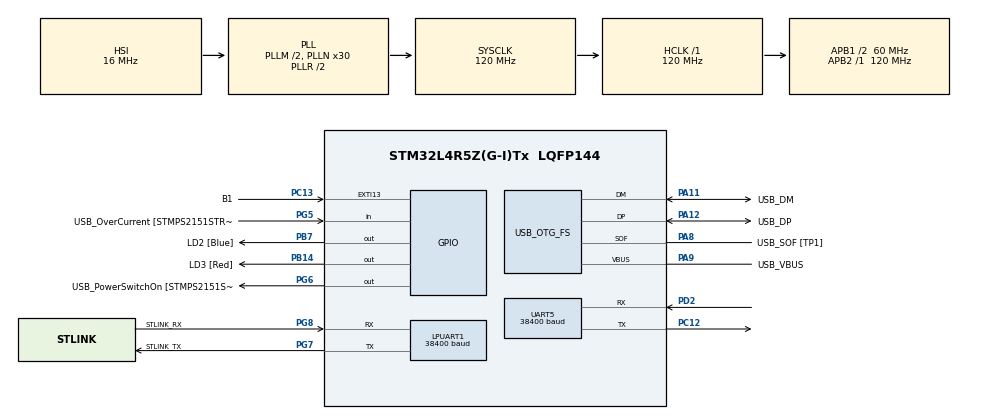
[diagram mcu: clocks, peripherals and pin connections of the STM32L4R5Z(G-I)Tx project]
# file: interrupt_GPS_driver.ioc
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LPUART1.BaudRate=38400
LPUART1.WordLength=UART_WORDLENGTH_8B
Mcu.Family=STM32L4
Mcu.Name=STM32L4R5Z(G-I)Tx
Mcu.Package=LQFP144
NVIC.PriorityGroup=NVIC_PRIORITYGROUP_4
NVIC.UART5_IRQn=true\:0\:0\:false\:false\:true\:true\:true\:true
PA10.GPIO_Label=USB_ID
PA10.Signal=USB_OTG_FS_ID
PA11.GPIO_Label=USB_DM
PA11.Mode=Device_Only
PA11.Signal=USB_OTG_FS_DM
PA12.GPIO_Label=USB_DP
PA12.Mode=Device_Only
PA12.Signal=USB_OTG_FS_DP
PA13\ (JTMS/SWDIO).GPIO_Label=TMS
PA13\ (JTMS/SWDIO).Mode=Trace_Asynchronous_SW
PA13\ (JTMS/SWDIO).Signal=SYS_JTMS-SWDIO
PA14\ (JTCK/SWCLK).GPIO_Label=TCK
PA14\ (JTCK/SWCLK).Mode=Trace_Asynchronous_SW
PA14\ (JTCK/SWCLK).Signal=SYS_JTCK-SWCLK
PA8.GPIO_Label=USB_SOF [TP1]
PA8.Mode=Activate_SOF_FS
PA8.Signal=USB_OTG_FS_SOF
PA9.GPIO_Label=USB_VBUS
PA9.Mode=Activate_VBUS
PA9.Signal=USB_OTG_FS_VBUS
PB14.GPIO_Label=LD3 [Red]
PB14.Signal=GPIO_Output
PB3\ (JTDO/TRACESWO).GPIO_Label=SWO
PB3\ (JTDO/TRACESWO).Mode=Trace_Asynchronous_SW
PB3\ (JTDO/TRACESWO).Signal=SYS_JTDO-SWO
PB7.GPIO_Label=LD2 [Blue]
PB7.Signal=GPIO_Output
PC12.Mode=Asynchronous
PC12.Signal=UART5_TX
PC13.GPIO_Label=B1
PC13.Signal=GPXTI13
PC14-OSC32_IN\ (PC14).Mode=LSE-External-Oscillator
PC14-OSC32_IN\ (PC14).Signal=RCC_OSC32_IN
PC15-OSC32_OUT\ (PC15).Mode=LSE-External-Oscillator
PC15-OSC32_OUT\ (PC15).Signal=RCC_OSC32_OUT
PD2.Mode=Asynchronous
PD2.Signal=UART5_RX
PD8.GPIO_Label=STLK_RX [STM32F103CBT6_PA3]
PD8.Signal=USART3_TX
PD9.GPIO_Label=STLK_TX [STM32F103CBT6_PA2]
PD9.Signal=USART3_RX
PG5.GPIO_Label=USB_OverCurrent [STMPS2151STR_FAULT]
PG5.Signal=GPIO_Input
PG6.GPIO_Label=USB_PowerSwitchOn [STMPS2151STR_EN]
PG6.Signal=GPIO_Output
PG7.GPIO_Label=STLINK_TX
PG7.Mode=Asynchronous
PG7.Signal=LPUART1_TX
PG8.GPIO_Label=STLINK_RX
PG8.Mode=Asynchronous
PG8.Signal=LPUART1_RX
PH0-OSC_IN\ (PH0).Signal=RCC_OSC_IN
PH1-OSC_OUT\ (PH1).Signal=RCC_OSC_OUT
ProjectManager.HeapSize=0x200
ProjectManager.StackSize=0x400
ProjectManager.TargetToolchain=STM32CubeIDE
RCC.48MHZClocksFreq_Value=24000000
RCC.ADCFreq_Value=96000000
RCC.AHBFreq_Value=120000000
RCC.APB1CLKDivider=RCC_HCLK_DIV2
RCC.APB1Freq_Value=60000000
RCC.APB1TimFreq_Value=120000000
RCC.APB2Freq_Value=120000000
RCC.APB2TimFreq_Value=120000000
RCC.CK48CLockSelection=RCC_USBCLKSOURCE_HSI48
RCC.CortexFreq_Value=120000000
RCC.HCLKFreq_Value=120000000
RCC.HSE_VALUE=8000000
RCC.HSI48_VALUE=48000000
RCC.HSI_VALUE=16000000
RCC.MSI_VALUE=4000000
RCC.PLLM1=2
RCC.PLLMUL=RCC_PLL_MUL9
RCC.PLLN=30
RCC.PLLSAI1N=12
RCC.PLLSourceVirtual=RCC_PLLSOURCE_HSI
RCC.PRESCALERUSB=RCC_USBCLKSOURCE_PLL_DIV1_5
RCC.SYSCLKFreq_VALUE=120000000
RCC.SYSCLKSource=RCC_SYSCLKSOURCE_PLLCLK
RCC.SYSCLKSourceVirtual=RCC_SYSCLKSOURCE_PLLCLK
RCC.USBFreq_Value=48000000
RCC.VCOOutputFreq_Value=240000000
UART5.BaudRate=38400
USB_OTG_FS.VirtualMode=Device_Only
board=NUCLEO-L4R5ZI

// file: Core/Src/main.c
/* USER CODE BEGIN Header */
/**
  ******************************************************************************
  * @file           : main.c
  * @brief          : Main program body
  ******************************************************************************
  * @attention
  *
  * Copyright (c) 2026 STMicroelectronics.
  * All rights reserved.
  *
  * This software is licensed under terms that can be found in the LICENSE file
  * in the root directory of this software component.
  * If no LICENSE file comes with this software, it is provided AS-IS.
  *
  ******************************************************************************
  */
/* USER CODE END Header */
#include "main.h"

/* USER CODE BEGIN Includes */
#include "NEOM9N.h"
#include <stdio.h>
#include <string.h>
/* USER CODE END Includes */

UART_HandleTypeDef hlpuart1;
UART_HandleTypeDef huart5;
DMA_HandleTypeDef hdma_uart5_rx;

PCD_HandleTypeDef hpcd_USB_OTG_FS;

/* USER CODE BEGIN PV */
unsigned char GPSData[10000] = {0}; // Buffer for GPS data
/* USER CODE END PV */

void SystemClock_Config(void);
static void MX_GPIO_Init(void);
static void MX_DMA_Init(void);
static void MX_LPUART1_UART_Init(void);
static void MX_USB_OTG_FS_PCD_Init(void);
static void MX_UART5_Init(void);
/* USER CODE BEGIN PFP */
void SystemClock_Config(void);
static void MX_GPIO_Init(void);
static void MX_LPUART1_UART_Init(void);
static void MX_USB_OTG_FS_PCD_Init(void);
static void MX_UART5_Init(void);
static HAL_StatusTypeDef gpsSwitchBaud(UART_HandleTypeDef *huart_gps, uint32_t newBaud);
/* USER CODE END PFP */

/* USER CODE BEGIN 0 */
// We use Receive-to-IDLE interrupt, so we only need HAL_UARTEx_RxEventCallback.
void HAL_UARTEx_RxEventCallback(UART_HandleTypeDef *huart, uint16_t Size) {
  if (huart->Instance == UART5){
    NEOM9N_OnRxEventIT(Size);
  }
}
/* USER CODE END 0 */

int main(void)
{

  /* MCU Configuration--------------------------------------------------------*/

  /* Reset of all peripherals, Initializes the Flash interface and the Systick. */
  HAL_Init();

  /* Configure the system clock */
  SystemClock_Config();

  /* Initialize all configured peripherals */
  MX_GPIO_Init();
  MX_DMA_Init();
  MX_LPUART1_UART_Init();
  MX_USB_OTG_FS_PCD_Init();
  MX_UART5_Init();
  /* USER CODE BEGIN 2 */
  // Initialize GPS on UART5
    NEOM9N_init(&huart5);
    // Start the Interrupt Listener
    NEOM9N_StartRxIT();

    // comment out if not switching gps baud!
    // save = 0x01 (temp change, i.e. resets back to previously set baud rate with next power cycle).
    // save = 0x07 (permenant change, i.e. must call this function again to change baud rate)
    gpsSwitchBaud(&huart5, (uint16_t)115200, /* save */ (uint8_t)0x01);

  /* USER CODE END 2 */

  /* Infinite loop */
  while (1)
  {

    /* USER CODE BEGIN 3 */
	// Check if new data has arrived via interrupt
	if (NEOM9N_getDataIT(GPSData, sizeof(GPSData)) == HAL_OK)
	{
		// 1. Print Raw Data to Console (LPUART1)
		HAL_UART_Transmit(&hlpuart1, GPSData, strlen((char*)GPSData), 100);

		// 2. Parse Data
		float latitude = 0, longitude = 0, speed = 0, altitude = 0;
		char latHem = 0, lonHem = 0;
		char tx_buff[100];

		// Parse Position
		if (NEOM9N_getPosition(&latitude, &latHem, &longitude, &lonHem, GPSData, sizeof(GPSData)) == 0) {
		  sprintf(tx_buff, "Lat: %.6f %c, Lon: %.6f %c\r\n", latitude, latHem, longitude, lonHem);
		  HAL_UART_Transmit(&hlpuart1, (uint8_t*)tx_buff, strlen(tx_buff), 100);
		}

		// Parse Speed
		if (NEOM9N_getSpeed(&speed, GPSData) == 0) {
		  sprintf(tx_buff, "Speed: %.2f\r\n", speed);
		  HAL_UART_Transmit(&hlpuart1, (uint8_t*)tx_buff, strlen(tx_buff), 100);
		}

		// Parse Altitude
		if (NEOM9N_getAltitude(&altitude, GPSData) == 0) {
		  sprintf(tx_buff, "Alt: %.2f\r\n", altitude);
		  HAL_UART_Transmit(&hlpuart1, (uint8_t*)tx_buff, strlen(tx_buff), 100);
		}
	}

  }
  /* USER CODE END 3 */
}

void SystemClock_Config(void)
{
  RCC_OscInitTypeDef RCC_OscInitStruct = {0};
  RCC_ClkInitTypeDef RCC_ClkInitStruct = {0};

  /** Configure the main internal regulator output voltage
  */
  if (HAL_PWREx_ControlVoltageScaling(PWR_REGULATOR_VOLTAGE_SCALE1_BOOST) != HAL_OK)
  {
    Error_Handler();
  }

  /** Initializes the RCC Oscillators according to the specified parameters
  * in the RCC_OscInitTypeDef structure.
  */
  RCC_OscInitStruct.OscillatorType = RCC_OSCILLATORTYPE_HSI48|RCC_OSCILLATORTYPE_HSI;
  RCC_OscInitStruct.HSIState = RCC_HSI_ON;
  RCC_OscInitStruct.HSI48State = RCC_HSI48_ON;
  RCC_OscInitStruct.HSICalibrationValue = RCC_HSICALIBRATION_DEFAULT;
  RCC_OscInitStruct.PLL.PLLState = RCC_PLL_ON;
  RCC_OscInitStruct.PLL.PLLSource = RCC_PLLSOURCE_HSI;
  RCC_OscInitStruct.PLL.PLLM = 2;
  RCC_OscInitStruct.PLL.PLLN = 30;
  RCC_OscInitStruct.PLL.PLLP = RCC_PLLP_DIV2;
  RCC_OscInitStruct.PLL.PLLQ = RCC_PLLQ_DIV2;
  RCC_OscInitStruct.PLL.PLLR = RCC_PLLR_DIV2;
  if (HAL_RCC_OscConfig(&RCC_OscInitStruct) != HAL_OK)
  {
    Error_Handler();
  }

  /** Initializes the CPU, AHB and APB buses clocks
  */
  RCC_ClkInitStruct.ClockType = RCC_CLOCKTYPE_HCLK|RCC_CLOCKTYPE_SYSCLK
                              |RCC_CLOCKTYPE_PCLK1|RCC_CLOCKTYPE_PCLK2;
  RCC_ClkInitStruct.SYSCLKSource = RCC_SYSCLKSOURCE_PLLCLK;
  RCC_ClkInitStruct.AHBCLKDivider = RCC_SYSCLK_DIV1;
  RCC_ClkInitStruct.APB1CLKDivider = RCC_HCLK_DIV2;
  RCC_ClkInitStruct.APB2CLKDivider = RCC_HCLK_DIV1;

  if (HAL_RCC_ClockConfig(&RCC_ClkInitStruct, FLASH_LATENCY_5) != HAL_OK)
  {
    Error_Handler();
  }
}

static void MX_LPUART1_UART_Init(void)
{

  hlpuart1.Instance = LPUART1;
  hlpuart1.Init.BaudRate = 38400;
  hlpuart1.Init.WordLength = UART_WORDLENGTH_8B;
  hlpuart1.Init.StopBits = UART_STOPBITS_1;
  hlpuart1.Init.Parity = UART_PARITY_NONE;
  hlpuart1.Init.Mode = UART_MODE_TX_RX;
  hlpuart1.Init.HwFlowCtl = UART_HWCONTROL_NONE;
  hlpuart1.Init.OneBitSampling = UART_ONE_BIT_SAMPLE_DISABLE;
  hlpuart1.Init.ClockPrescaler = UART_PRESCALER_DIV1;
  hlpuart1.AdvancedInit.AdvFeatureInit = UART_ADVFEATURE_NO_INIT;
  hlpuart1.FifoMode = UART_FIFOMODE_DISABLE;
  if (HAL_UART_Init(&hlpuart1) != HAL_OK)
  {
    Error_Handler();
  }
  if (HAL_UARTEx_SetTxFifoThreshold(&hlpuart1, UART_TXFIFO_THRESHOLD_1_8) != HAL_OK)
  {
    Error_Handler();
  }
  if (HAL_UARTEx_SetRxFifoThreshold(&hlpuart1, UART_RXFIFO_THRESHOLD_1_8) != HAL_OK)
  {
    Error_Handler();
  }
  if (HAL_UARTEx_DisableFifoMode(&hlpuart1) != HAL_OK)
  {
    Error_Handler();
  }

}

static void MX_UART5_Init(void)
{

  huart5.Instance = UART5;
  huart5.Init.BaudRate = 38400;
  huart5.Init.WordLength = UART_WORDLENGTH_8B;
  huart5.Init.StopBits = UART_STOPBITS_1;
  huart5.Init.Parity = UART_PARITY_NONE;
  huart5.Init.Mode = UART_MODE_TX_RX;
  huart5.Init.HwFlowCtl = UART_HWCONTROL_NONE;
  huart5.Init.OverSampling = UART_OVERSAMPLING_16;
  huart5.Init.OneBitSampling = UART_ONE_BIT_SAMPLE_DISABLE;
  huart5.Init.ClockPrescaler = UART_PRESCALER_DIV1;
  huart5.AdvancedInit.AdvFeatureInit = UART_ADVFEATURE_NO_INIT;
  if (HAL_UART_Init(&huart5) != HAL_OK)
  {
    Error_Handler();
  }
  if (HAL_UARTEx_SetTxFifoThreshold(&huart5, UART_TXFIFO_THRESHOLD_1_8) != HAL_OK)
  {
    Error_Handler();
  }
  if (HAL_UARTEx_SetRxFifoThreshold(&huart5, UART_RXFIFO_THRESHOLD_1_8) != HAL_OK)
  {
    Error_Handler();
  }
  if (HAL_UARTEx_DisableFifoMode(&huart5) != HAL_OK)
  {
    Error_Handler();
  }

}

static void MX_USB_OTG_FS_PCD_Init(void)
{

  hpcd_USB_OTG_FS.Instance = USB_OTG_FS;
  hpcd_USB_OTG_FS.Init.dev_endpoints = 6;
  hpcd_USB_OTG_FS.Init.speed = PCD_SPEED_FULL;
  hpcd_USB_OTG_FS.Init.phy_itface = PCD_PHY_EMBEDDED;
  hpcd_USB_OTG_FS.Init.Sof_enable = ENABLE;
  hpcd_USB_OTG_FS.Init.low_power_enable = DISABLE;
  hpcd_USB_OTG_FS.Init.lpm_enable = DISABLE;
  hpcd_USB_OTG_FS.Init.battery_charging_enable = ENABLE;
  hpcd_USB_OTG_FS.Init.use_dedicated_ep1 = DISABLE;
  hpcd_USB_OTG_FS.Init.vbus_sensing_enable = ENABLE;
  if (HAL_PCD_Init(&hpcd_USB_OTG_FS) != HAL_OK)
  {
    Error_Handler();
  }

}

static void MX_DMA_Init(void)
{

  /* DMA controller clock enable */
  __HAL_RCC_DMAMUX1_CLK_ENABLE();
  __HAL_RCC_DMA1_CLK_ENABLE();

  /* DMA interrupt init */
  /* DMA1_Channel1_IRQn interrupt configuration */
  HAL_NVIC_SetPriority(DMA1_Channel1_IRQn, 0, 0);
  HAL_NVIC_EnableIRQ(DMA1_Channel1_IRQn);

}

static void MX_GPIO_Init(void)
{
  GPIO_InitTypeDef GPIO_InitStruct = {0};

  /* GPIO Ports Clock Enable */
  __HAL_RCC_GPIOC_CLK_ENABLE();
  __HAL_RCC_GPIOH_CLK_ENABLE();
  __HAL_RCC_GPIOB_CLK_ENABLE();
  __HAL_RCC_GPIOD_CLK_ENABLE();
  __HAL_RCC_GPIOG_CLK_ENABLE();
  HAL_PWREx_EnableVddIO2();
  __HAL_RCC_GPIOA_CLK_ENABLE();

  /*Configure GPIO pin Output Level */
  HAL_GPIO_WritePin(GPIOB, LD3_Pin|LD2_Pin, GPIO_PIN_RESET);

  /*Configure GPIO pin Output Level */
  HAL_GPIO_WritePin(USB_PowerSwitchOn_GPIO_Port, USB_PowerSwitchOn_Pin, GPIO_PIN_RESET);

  /*Configure GPIO pin : B1_Pin */
  GPIO_InitStruct.Pin = B1_Pin;
  GPIO_InitStruct.Mode = GPIO_MODE_IT_RISING;
  GPIO_InitStruct.Pull = GPIO_NOPULL;
  HAL_GPIO_Init(B1_GPIO_Port, &GPIO_InitStruct);

  /*Configure GPIO pins : LD3_Pin LD2_Pin */
  GPIO_InitStruct.Pin = LD3_Pin|LD2_Pin;
  GPIO_InitStruct.Mode = GPIO_MODE_OUTPUT_PP;
  GPIO_InitStruct.Pull = GPIO_NOPULL;
  GPIO_InitStruct.Speed = GPIO_SPEED_FREQ_LOW;
  HAL_GPIO_Init(GPIOB, &GPIO_InitStruct);

  /*Configure GPIO pins : STLK_RX_Pin STLK_TX_Pin */
  GPIO_InitStruct.Pin = STLK_RX_Pin|STLK_TX_Pin;
  GPIO_InitStruct.Mode = GPIO_MODE_AF_PP;
  GPIO_InitStruct.Pull = GPIO_NOPULL;
  GPIO_InitStruct.Speed = GPIO_SPEED_FREQ_VERY_HIGH;
  GPIO_InitStruct.Alternate = GPIO_AF7_USART3;
  HAL_GPIO_Init(GPIOD, &GPIO_InitStruct);

  /*Configure GPIO pin : USB_OverCurrent_Pin */
  GPIO_InitStruct.Pin = USB_OverCurrent_Pin;
  GPIO_InitStruct.Mode = GPIO_MODE_INPUT;
  GPIO_InitStruct.Pull = GPIO_NOPULL;
  HAL_GPIO_Init(USB_OverCurrent_GPIO_Port, &GPIO_InitStruct);

  /*Configure GPIO pin : USB_PowerSwitchOn_Pin */
  GPIO_InitStruct.Pin = USB_PowerSwitchOn_Pin;
  GPIO_InitStruct.Mode = GPIO_MODE_OUTPUT_PP;
  GPIO_InitStruct.Pull = GPIO_NOPULL;
  GPIO_InitStruct.Speed = GPIO_SPEED_FREQ_LOW;
  HAL_GPIO_Init(USB_PowerSwitchOn_GPIO_Port, &GPIO_InitStruct);

}

/* USER CODE BEGIN 4 */
// AI (gemini) assisted code //
// UBX 8-bit Fletcher checksum over UBX-CFG-VALSET payload as defied by (u-blox, pg. 48)
static void ubx_checksum(const uint8_t* buffer, uint16_t len, uint8_t* ck_a, uint8_t* ck_b) {
	uint8_t a = 0, b = 0;
	for (uint16_t i = 0; i < len; i++) {
		a = a + buffer[i];
		b = b + a;
	}
	*ck_a = a;
	*ck_b = b;
}

// after sending package to gps to change anything, wait to see if checksum was validated and there was no data corruption
// returns false if checksum failed and packaage rejected
static bool ubx_wait_ack(UART_HandleTypeDef *huart, uint8_t cls, uint8_t id, uint32_t timeout_ms) {
	/* completely AI generated */
	// basically, checking for 1 of 2 possible responses from the gps
	// - UBX-ACK-ACK (accepted), UBX-ACK-NAK (rejected)
	uint32_t start = HAL_GetTick();
	uint8_t b;
	// Simple state machine for UBX-ACK-ACK: B5 62 05 01 02 00 cls id CK_A CK_B
	const uint8_t preamble[] = {0xB5, 0x62, 0x05, 0x01, 0x02, 0x00};
	uint8_t idx = 0;
	uint8_t payload[2];
	uint8_t ck_a, ck_b;

	while ((HAL_GetTick() - start) < timeout_ms) {
		if (HAL_UART_Receive(huart, &b, 1, 10) != HAL_OK) continue;

		// match preamble
		if (idx < sizeof(preamble)) {
		  if (b == preamble[idx]) {
			idx++;
		  } else {
			idx = (b == preamble[0]) ? 1 : 0;
		  }
		  continue;
		}

		// read payload (2 bytes)
		payload[0] = b;
		if (HAL_UART_Receive(huart, &payload[1], 1, 10) != HAL_OK) { idx = 0; continue; }

		// read checksum (2 bytes)
		if (HAL_UART_Receive(huart, &ck_a, 1, 10) != HAL_OK) { idx = 0; continue; }
		if (HAL_UART_Receive(huart, &ck_b, 1, 10) != HAL_OK) { idx = 0; continue; }

		// validate checksum of ACK packet (class..payload)
		uint8_t buf[4 + 2]; // 05 01 02 00 + payload
		memcpy(buf, &preamble[2], 4); // class,id,lenL,lenH
		buf[4] = payload[0];
		buf[5] = payload[1];

		uint8_t calc_a, calc_b;
		ubx_checksum(buf, sizeof(buf), &calc_a, &calc_b);
		if (calc_a != ck_a || calc_b != ck_b) { idx = 0; continue; } // corrupted ACK

		// check ACK is for our message
		return (payload[0] == cls && payload[1] == id);
	}
	return false;
}

// Send UBX-CFG-VALSET to set CFG-UART1-BAUDRATE (currently set up to be temporary change), then switch STM32 UART5 to match.
static HAL_StatusTypeDef gpsSwitchBaud(UART_HandleTypeDef *huart_gps, uint32_t newBaud, uint8_t save) {
	/* To change the baud rate of the neom9n, must send a complete UBX packet with required details
	 * as defied by (u-blox, pg. 89-91) */

	// UBX-CFG-VALSET packet for 115200 Baud on UART1
	uint8_t pkt[20]; // header == 4 bytes, payload == 12 bytes,

	pkt[0] = 0xB5; pkt[1] = 0x62;	// header
	pkt[2] = 0x06; pkt[3] = 0x8A;	// Class/ID
	pkt[4] = 0x0C; pkt[5] = 0x00;	// Length of payload (12 bytes: 4 config + 8 key/val)

// --- paylod ---
	// to save the baud rate change (and any other change made), set byte 1 => 0x07 (save to ram, bbr, and flash layers)
	// to just test a change but not save, set byte 1 => 0x01 (saves just to ram)
	pkt[6] = 0x00;       			// Byte 0: set to 0x00 cause datasheet says so
	pkt[7] = save;      	 		// Byte 1: layers (0x01 = save to RAM only (temp. change for testing purposes))
	pkt[8] = 0x00; pkt[9] = 0x00;   // Byte 2-3: 0x00 cause gemini said so

	// Key ID for UART1 on neom9n = 0x40520001 -> little endian: 01 00 52 40
	pkt[10] = 0x01; pkt[11] = 0x00; pkt[12] = 0x52; pkt[13] = 0x40;
// --- paylod end ---

	// new baud rate in little endian (ai generated)
	pkt[14] = (uint8_t)(newBaud & 0xFF);
	pkt[15] = (uint8_t)((newBaud >> 8) & 0xFF);
	pkt[16] = (uint8_t)((newBaud >> 16) & 0xFF);
	pkt[17] = (uint8_t)((newBaud >> 24) & 0xFF);

	// Checksum (of the payload -> pkt[2] for class + id + payload_length(2) + payload(12). i.e. 16 bytes)
	uint8_t ck_a, ck_b;
	ubx_checksum(&pkt[2], 16, &ck_a, &ck_b);
	pkt[18] = ck_a;
	pkt[19] = ck_b;

	const uint16_t pkt_length = 20;

	/* ai generated beneath */
	// Stop recieving while switching baud rate
	HAL_UART_AbortReceive(huart_gps);
	__HAL_UART_DISABLE_IT(huart_gps, UART_IT_RXNE);
	__HAL_UART_DISABLE_IT(huart_gps, UART_IT_IDLE);

	// Send at CURRENT baud (must match current GPS baud - before changes)
	if (HAL_UART_Transmit(huart_gps, pkt, pkt_length, 200) != HAL_OK) {
		return HAL_ERROR;
	}

	// check that no data corruption occured and the checksum was validated by the gps
	// Wait for confirmation from GPS at OLD baud
	if (!ubx_wait_ack(huart_gps, 0x06, 0x8A, 300)) {
	  return HAL_ERROR; // GPS didn’t accept it, or no ACK seen
	}

	// Give GPS time to switch UART baud
	HAL_Delay(200);

	// Switch STM32 UART baud to match
	if (HAL_UART_DeInit(huart_gps) != HAL_OK) {
		return HAL_ERROR;
	}

	huart_gps->Init.BaudRate = newBaud;
	if (HAL_UART_Init(huart_gps) != HAL_OK) {
		return HAL_ERROR;
	}

	// Restart GPS RX-to-idle
	NEOM9N_StartRxIT();

	return HAL_OK;
}
/* USER CODE END 4 */

void Error_Handler(void)
{
	__disable_irq();
	while (1)
	{
	}
}
